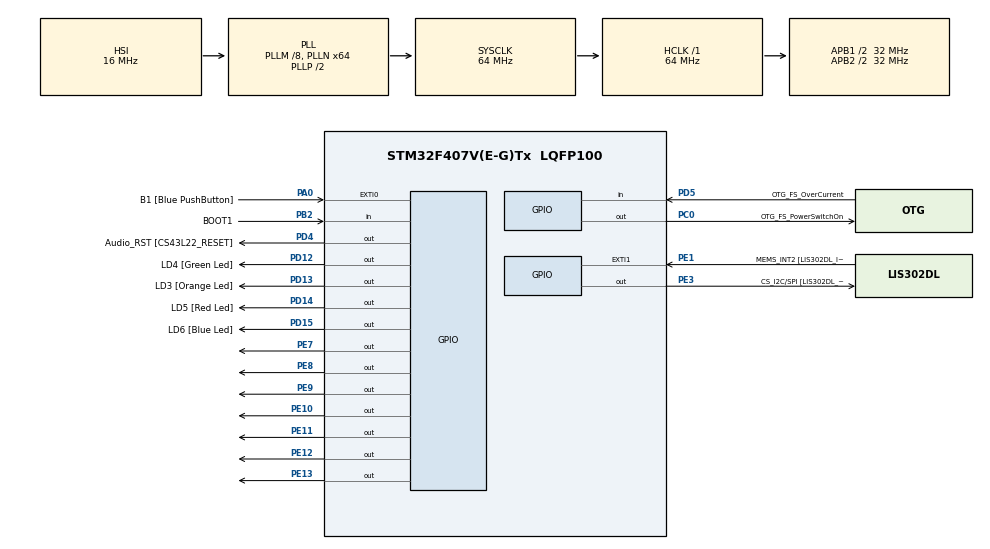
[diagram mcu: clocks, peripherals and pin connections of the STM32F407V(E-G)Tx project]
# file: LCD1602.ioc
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Mcu.Family=STM32F4
Mcu.Name=STM32F407V(E-G)Tx
Mcu.Package=LQFP100
NVIC.PriorityGroup=NVIC_PRIORITYGROUP_0
PA0-WKUP.GPIO_Label=B1 [Blue PushButton]
PA0-WKUP.GPIO_ModeDefaultEXTI=GPIO_MODE_EVT_RISING
PA0-WKUP.GPIO_PuPd=GPIO_NOPULL
PA0-WKUP.Signal=GPXTI0
PA10.GPIO_Label=OTG_FS_ID
PA10.GPIO_Mode=GPIO_MODE_AF_PP
PA10.GPIO_PuPd=GPIO_NOPULL
PA10.GPIO_Speed=GPIO_SPEED_FREQ_LOW
PA10.Signal=USB_OTG_FS_ID
PA11.GPIO_Label=OTG_FS_DM
PA11.GPIO_Mode=GPIO_MODE_AF_PP
PA11.GPIO_PuPd=GPIO_NOPULL
PA11.GPIO_Speed=GPIO_SPEED_FREQ_LOW
PA11.Signal=USB_OTG_FS_DM
PA12.GPIO_Label=OTG_FS_DP
PA12.GPIO_Mode=GPIO_MODE_AF_PP
PA12.GPIO_PuPd=GPIO_NOPULL
PA12.GPIO_Speed=GPIO_SPEED_FREQ_LOW
PA12.Signal=USB_OTG_FS_DP
PA13.GPIO_Label=SWDIO
PA13.Signal=SYS_JTMS-SWDIO
PA14.GPIO_Label=SWCLK
PA14.Signal=SYS_JTCK-SWCLK
PA4.GPIO_Label=I2S3_WS [CS43L22_LRCK]
PA4.GPIO_Mode=GPIO_MODE_AF_PP
PA4.GPIO_PuPd=GPIO_NOPULL
PA4.GPIO_Speed=GPIO_SPEED_FREQ_LOW
PA4.Signal=I2S3_WS
PA5.GPIO_Label=SPI1_SCK [LIS302DL_SCL/SPC]
PA5.GPIO_Mode=GPIO_MODE_AF_PP
PA5.GPIO_PuPd=GPIO_NOPULL
PA5.GPIO_Speed=GPIO_SPEED_FREQ_LOW
PA5.Signal=SPI1_SCK
PA6.GPIO_Label=SPI1_MISO [LIS302DL_SDO]
PA6.GPIO_Mode=GPIO_MODE_AF_PP
PA6.GPIO_PuPd=GPIO_NOPULL
PA6.GPIO_Speed=GPIO_SPEED_FREQ_LOW
PA6.Signal=SPI1_MISO
PA7.GPIO_Label=SPI1_MOSI [LIS302DL_SDA/SDI/SDO]
PA7.GPIO_Mode=GPIO_MODE_AF_PP
PA7.GPIO_PuPd=GPIO_NOPULL
PA7.GPIO_Speed=GPIO_SPEED_FREQ_LOW
PA7.Signal=SPI1_MOSI
PA9.GPIO_Label=VBUS_FS
PA9.GPIO_Mode=GPIO_MODE_INPUT
PA9.GPIO_PuPd=GPIO_NOPULL
PA9.Signal=USB_OTG_FS_VBUS
PB10.GPIO_Label=CLK_IN [MP45DT02_CLK]
PB10.GPIO_Mode=GPIO_MODE_AF_PP
PB10.GPIO_PuPd=GPIO_NOPULL
PB10.GPIO_Speed=GPIO_SPEED_FREQ_LOW
PB10.Signal=I2S2_CK
PB2.GPIO_Label=BOOT1
PB2.GPIO_Mode=GPIO_MODE_INPUT
PB2.GPIO_PuPd=GPIO_NOPULL
PB2.Signal=GPIO_Input
PB3.GPIO_Label=SWO
PB3.Signal=SYS_JTDO-SWO
PB6.GPIO_Label=Audio_SCL [CS43L22_SCL]
PB6.GPIO_Mode=GPIO_MODE_AF_OD
PB6.GPIO_Pu=GPIO_PULLUP
PB6.GPIO_PuPd=GPIO_NOPULL
PB6.GPIO_Speed=GPIO_SPEED_FREQ_LOW
PB6.Signal=I2C1_SCL
PB9.GPIO_Label=Audio_SDA [CS43L22_SDA]
PB9.GPIO_Mode=GPIO_MODE_AF_OD
PB9.GPIO_Pu=GPIO_PULLUP
PB9.GPIO_PuPd=GPIO_NOPULL
PB9.GPIO_Speed=GPIO_SPEED_FREQ_LOW
PB9.Signal=I2C1_SDA
PC0.GPIO_Label=OTG_FS_PowerSwitchOn
PC0.GPIO_PuPd=GPIO_NOPULL
PC0.GPIO_Speed=GPIO_SPEED_FREQ_LOW
PC0.PinState=GPIO_PIN_SET
PC0.Signal=GPIO_Output
PC10.GPIO_Label=I2S3_SCK [CS43L22_SCLK]
PC10.GPIO_Mode=GPIO_MODE_AF_PP
PC10.GPIO_PuPd=GPIO_NOPULL
PC10.GPIO_Speed=GPIO_SPEED_FREQ_LOW
PC10.Signal=I2S3_CK
PC12.GPIO_Label=I2S3_SD [CS43L22_SDIN]
PC12.GPIO_Mode=GPIO_MODE_AF_PP
PC12.GPIO_PuPd=GPIO_NOPULL
PC12.GPIO_Speed=GPIO_SPEED_FREQ_LOW
PC12.Signal=I2S3_SD
PC14-OSC32_IN.GPIO_Label=PC14-OSC32_IN
PC14-OSC32_IN.Signal=RCC_OSC32_IN
PC15-OSC32_OUT.GPIO_Label=PC15-OSC32_OUT
PC15-OSC32_OUT.Signal=RCC_OSC32_OUT
PC3.GPIO_Label=PDM_OUT [MP45DT02_DOUT]
PC3.GPIO_Mode=GPIO_MODE_AF_PP
PC3.GPIO_PuPd=GPIO_NOPULL
PC3.GPIO_Speed=GPIO_SPEED_FREQ_LOW
PC3.Signal=I2S2_SD
PC7.GPIO_Label=I2S3_MCK [CS43L22_MCLK]
PC7.GPIO_Mode=GPIO_MODE_AF_PP
PC7.GPIO_PuPd=GPIO_NOPULL
PC7.GPIO_Speed=GPIO_SPEED_FREQ_LOW
PC7.Signal=I2S3_MCK
PD12.GPIO_Label=LD4 [Green Led]
PD12.GPIO_PuPd=GPIO_NOPULL
PD12.GPIO_Speed=GPIO_SPEED_FREQ_LOW
PD12.Signal=GPIO_Output
PD13.GPIO_Label=LD3 [Orange Led]
PD13.GPIO_PuPd=GPIO_NOPULL
PD13.GPIO_Speed=GPIO_SPEED_FREQ_LOW
PD13.Signal=GPIO_Output
PD14.GPIO_Label=LD5 [Red Led]
PD14.GPIO_PuPd=GPIO_NOPULL
PD14.GPIO_Speed=GPIO_SPEED_FREQ_LOW
PD14.Signal=GPIO_Output
PD15.GPIO_Label=LD6 [Blue Led]
PD15.GPIO_PuPd=GPIO_NOPULL
PD15.GPIO_Speed=GPIO_SPEED_FREQ_LOW
PD15.Signal=GPIO_Output
PD4.GPIO_Label=Audio_RST [CS43L22_RESET]
PD4.GPIO_PuPd=GPIO_NOPULL
PD4.GPIO_Speed=GPIO_SPEED_FREQ_LOW
PD4.Signal=GPIO_Output
PD5.GPIO_Label=OTG_FS_OverCurrent
PD5.GPIO_Mode=GPIO_MODE_INPUT
PD5.GPIO_PuPd=GPIO_NOPULL
PD5.Signal=GPIO_Input
PE1.GPIO_Label=MEMS_INT2 [LIS302DL_INT2]
PE1.GPIO_ModeDefaultEXTI=GPIO_MODE_EVT_RISING
PE1.GPIO_PuPd=GPIO_NOPULL
PE1.Signal=GPXTI1
PE10.Signal=GPIO_Output
PE11.Signal=GPIO_Output
PE12.Signal=GPIO_Output
PE13.Signal=GPIO_Output
PE3.GPIO_Label=CS_I2C/SPI [LIS302DL_CS_I2C/SPI]
PE3.GPIO_PuPd=GPIO_NOPULL
PE3.GPIO_Speed=GPIO_SPEED_FREQ_LOW
PE3.Signal=GPIO_Output
PE7.Signal=GPIO_Output
PE8.Signal=GPIO_Output
PE9.Signal=GPIO_Output
PH0-OSC_IN.GPIO_Label=PH0-OSC_IN
PH0-OSC_IN.Signal=RCC_OSC_IN
PH1-OSC_OUT.GPIO_Label=PH1-OSC_OUT
PH1-OSC_OUT.Signal=RCC_OSC_OUT
ProjectManager.HeapSize=0x200
ProjectManager.StackSize=0x400
ProjectManager.TargetToolchain=STM32CubeIDE
RCC.48MHZClocksFreq_Value=18285714.285714287
RCC.AHBFreq_Value=64000000
RCC.APB1CLKDivider=RCC_HCLK_DIV2
RCC.APB1Freq_Value=32000000
RCC.APB1TimFreq_Value=64000000
RCC.APB2CLKDivider=RCC_HCLK_DIV2
RCC.APB2Freq_Value=32000000
RCC.APB2TimFreq_Value=64000000
RCC.CortexFreq_Value=64000000
RCC.HCLKFreq_Value=64000000
RCC.HSE_VALUE=8000000
RCC.HSI_VALUE=16000000
RCC.LSE_VALUE=32768
RCC.PLLM=8
RCC.PLLN=64
RCC.PLLQ=7
RCC.SYSCLKFreq_VALUE=64000000
RCC.SYSCLKSource=RCC_SYSCLKSOURCE_PLLCLK
RCC.VCOOutputFreq_Value=128000000
TIM1.Period=0xffff-1
TIM1.Prescaler=64-1
VP_TIM1_VS_ClockSourceINT.Mode=Internal
board=STM32F407G-DISC1

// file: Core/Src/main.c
/* USER CODE BEGIN Header */
/**
 ******************************************************************************
 * @file           : main.c
 * @brief          : Main program body
 ******************************************************************************
 * @attention
 *
 * Copyright (c) 2023 STMicroelectronics.
 * All rights reserved.
 *
 * This software is licensed under terms that can be found in the LICENSE file
 * in the root directory of this software component.
 * If no LICENSE file comes with this software, it is provided AS-IS.
 *
 ******************************************************************************
 */
/* USER CODE END Header */
#include "main.h"

/* USER CODE BEGIN Includes */
#include "LCD1602.h"
/* USER CODE END Includes */

TIM_HandleTypeDef htim1;

void SystemClock_Config(void);
static void MX_GPIO_Init(void);
static void MX_TIM1_Init(void);

/* USER CODE BEGIN 0 */
int row = 0;
int col = 0;
/* USER CODE END 0 */

int main(void) {

	/* MCU Configuration--------------------------------------------------------*/

	/* Reset of all peripherals, Initializes the Flash interface and the Systick. */
	HAL_Init();

	/* Configure the system clock */
	SystemClock_Config();

	/* Initialize all configured peripherals */
	MX_GPIO_Init();
	MX_TIM1_Init();
	/* USER CODE BEGIN 2 */

	HAL_TIM_Base_Start(&htim1);
	HAL_Delay(1000);
	lcd_init();
	// lcd_put_cur(1,1);
	lcd_put_cur(0, 0);
	lcd_send_string("HELLO ");
	lcd_send_string("WORLD ");

	lcd_put_cur(1, 0);
	lcd_send_string("AHHHHHH");
	HAL_Delay(3000);
	lcd_clear();

	/* USER CODE END 2 */

	/* Infinite loop */
	/* USER CODE BEGIN WHILE */
	while (1) {

		lcd_put_cur(0, 0);
		lcd_send_string("AHHHHHH");
		HAL_Delay(250);
		lcd_clear();

		 for (int i=0;i<128;i++)
		 {
			 lcd_put_cur(row, col);

			 lcd_send_data(i+48);

			 col++;

			 if (col > 15) {row++; col = 0;}
			 if (row > 1) row=0;

			 HAL_Delay(250);
		 }

		/* USER CODE END WHILE */

	}
}

void SystemClock_Config(void) {
	RCC_OscInitTypeDef RCC_OscInitStruct = { 0 };
	RCC_ClkInitTypeDef RCC_ClkInitStruct = { 0 };

	/** Configure the main internal regulator output voltage
	 */
	__HAL_RCC_PWR_CLK_ENABLE();
	__HAL_PWR_VOLTAGESCALING_CONFIG(PWR_REGULATOR_VOLTAGE_SCALE1);

	/** Initializes the RCC Oscillators according to the specified parameters
	 * in the RCC_OscInitTypeDef structure.
	 */
	RCC_OscInitStruct.OscillatorType = RCC_OSCILLATORTYPE_HSI;
	RCC_OscInitStruct.HSIState = RCC_HSI_ON;
	RCC_OscInitStruct.HSICalibrationValue = RCC_HSICALIBRATION_DEFAULT;
	RCC_OscInitStruct.PLL.PLLState = RCC_PLL_ON;
	RCC_OscInitStruct.PLL.PLLSource = RCC_PLLSOURCE_HSI;
	RCC_OscInitStruct.PLL.PLLM = 8;
	RCC_OscInitStruct.PLL.PLLN = 64;
	RCC_OscInitStruct.PLL.PLLP = RCC_PLLP_DIV2;
	RCC_OscInitStruct.PLL.PLLQ = 7;
	if (HAL_RCC_OscConfig(&RCC_OscInitStruct) != HAL_OK) {
		Error_Handler();
	}

	/** Initializes the CPU, AHB and APB buses clocks
	 */
	RCC_ClkInitStruct.ClockType = RCC_CLOCKTYPE_HCLK | RCC_CLOCKTYPE_SYSCLK
			| RCC_CLOCKTYPE_PCLK1 | RCC_CLOCKTYPE_PCLK2;
	RCC_ClkInitStruct.SYSCLKSource = RCC_SYSCLKSOURCE_PLLCLK;
	RCC_ClkInitStruct.AHBCLKDivider = RCC_SYSCLK_DIV1;
	RCC_ClkInitStruct.APB1CLKDivider = RCC_HCLK_DIV2;
	RCC_ClkInitStruct.APB2CLKDivider = RCC_HCLK_DIV2;

	if (HAL_RCC_ClockConfig(&RCC_ClkInitStruct, FLASH_LATENCY_2) != HAL_OK) {
		Error_Handler();
	}
}

static void MX_TIM1_Init(void) {

	TIM_ClockConfigTypeDef sClockSourceConfig = { 0 };
	TIM_MasterConfigTypeDef sMasterConfig = { 0 };

	htim1.Instance = TIM1;
	htim1.Init.Prescaler = 64 - 1;
	htim1.Init.CounterMode = TIM_COUNTERMODE_UP;
	htim1.Init.Period = 0xffff - 1;
	htim1.Init.ClockDivision = TIM_CLOCKDIVISION_DIV1;
	htim1.Init.RepetitionCounter = 0;
	htim1.Init.AutoReloadPreload = TIM_AUTORELOAD_PRELOAD_DISABLE;
	if (HAL_TIM_Base_Init(&htim1) != HAL_OK) {
		Error_Handler();
	}
	sClockSourceConfig.ClockSource = TIM_CLOCKSOURCE_INTERNAL;
	if (HAL_TIM_ConfigClockSource(&htim1, &sClockSourceConfig) != HAL_OK) {
		Error_Handler();
	}
	sMasterConfig.MasterOutputTrigger = TIM_TRGO_RESET;
	sMasterConfig.MasterSlaveMode = TIM_MASTERSLAVEMODE_DISABLE;
	if (HAL_TIMEx_MasterConfigSynchronization(&htim1, &sMasterConfig)
			!= HAL_OK) {
		Error_Handler();
	}

}

static void MX_GPIO_Init(void) {
	GPIO_InitTypeDef GPIO_InitStruct = { 0 };

	/* GPIO Ports Clock Enable */
	__HAL_RCC_GPIOE_CLK_ENABLE();
	__HAL_RCC_GPIOC_CLK_ENABLE();
	__HAL_RCC_GPIOH_CLK_ENABLE();
	__HAL_RCC_GPIOA_CLK_ENABLE();
	__HAL_RCC_GPIOB_CLK_ENABLE();
	__HAL_RCC_GPIOD_CLK_ENABLE();

	/*Configure GPIO pin Output Level */
	HAL_GPIO_WritePin(GPIOE,
			CS_I2C_SPI_Pin | GPIO_PIN_7 | GPIO_PIN_8 | GPIO_PIN_9 | GPIO_PIN_10
					| GPIO_PIN_11 | GPIO_PIN_12 | GPIO_PIN_13, GPIO_PIN_RESET);

	/*Configure GPIO pin Output Level */
	HAL_GPIO_WritePin(OTG_FS_PowerSwitchOn_GPIO_Port, OTG_FS_PowerSwitchOn_Pin,
			GPIO_PIN_SET);

	/*Configure GPIO pin Output Level */
	HAL_GPIO_WritePin(GPIOD,
			LD4_Pin | LD3_Pin | LD5_Pin | LD6_Pin | Audio_RST_Pin,
			GPIO_PIN_RESET);

	/*Configure GPIO pins : CS_I2C_SPI_Pin PE7 PE8 PE9
	 PE10 PE11 PE12 PE13 */
	GPIO_InitStruct.Pin = CS_I2C_SPI_Pin | GPIO_PIN_7 | GPIO_PIN_8 | GPIO_PIN_9
			| GPIO_PIN_10 | GPIO_PIN_11 | GPIO_PIN_12 | GPIO_PIN_13;
	GPIO_InitStruct.Mode = GPIO_MODE_OUTPUT_PP;
	GPIO_InitStruct.Pull = GPIO_NOPULL;
	GPIO_InitStruct.Speed = GPIO_SPEED_FREQ_LOW;
	HAL_GPIO_Init(GPIOE, &GPIO_InitStruct);

	/*Configure GPIO pin : OTG_FS_PowerSwitchOn_Pin */
	GPIO_InitStruct.Pin = OTG_FS_PowerSwitchOn_Pin;
	GPIO_InitStruct.Mode = GPIO_MODE_OUTPUT_PP;
	GPIO_InitStruct.Pull = GPIO_NOPULL;
	GPIO_InitStruct.Speed = GPIO_SPEED_FREQ_LOW;
	HAL_GPIO_Init(OTG_FS_PowerSwitchOn_GPIO_Port, &GPIO_InitStruct);

	/*Configure GPIO pin : PDM_OUT_Pin */
	GPIO_InitStruct.Pin = PDM_OUT_Pin;
	GPIO_InitStruct.Mode = GPIO_MODE_AF_PP;
	GPIO_InitStruct.Pull = GPIO_NOPULL;
	GPIO_InitStruct.Speed = GPIO_SPEED_FREQ_LOW;
	GPIO_InitStruct.Alternate = GPIO_AF5_SPI2;
	HAL_GPIO_Init(PDM_OUT_GPIO_Port, &GPIO_InitStruct);

	/*Configure GPIO pin : B1_Pin */
	GPIO_InitStruct.Pin = B1_Pin;
	GPIO_InitStruct.Mode = GPIO_MODE_EVT_RISING;
	GPIO_InitStruct.Pull = GPIO_NOPULL;
	HAL_GPIO_Init(B1_GPIO_Port, &GPIO_InitStruct);

	/*Configure GPIO pin : I2S3_WS_Pin */
	GPIO_InitStruct.Pin = I2S3_WS_Pin;
	GPIO_InitStruct.Mode = GPIO_MODE_AF_PP;
	GPIO_InitStruct.Pull = GPIO_NOPULL;
	GPIO_InitStruct.Speed = GPIO_SPEED_FREQ_LOW;
	GPIO_InitStruct.Alternate = GPIO_AF6_SPI3;
	HAL_GPIO_Init(I2S3_WS_GPIO_Port, &GPIO_InitStruct);

	/*Configure GPIO pins : SPI1_SCK_Pin SPI1_MISO_Pin SPI1_MOSI_Pin */
	GPIO_InitStruct.Pin = SPI1_SCK_Pin | SPI1_MISO_Pin | SPI1_MOSI_Pin;
	GPIO_InitStruct.Mode = GPIO_MODE_AF_PP;
	GPIO_InitStruct.Pull = GPIO_NOPULL;
	GPIO_InitStruct.Speed = GPIO_SPEED_FREQ_LOW;
	GPIO_InitStruct.Alternate = GPIO_AF5_SPI1;
	HAL_GPIO_Init(GPIOA, &GPIO_InitStruct);

	/*Configure GPIO pin : BOOT1_Pin */
	GPIO_InitStruct.Pin = BOOT1_Pin;
	GPIO_InitStruct.Mode = GPIO_MODE_INPUT;
	GPIO_InitStruct.Pull = GPIO_NOPULL;
	HAL_GPIO_Init(BOOT1_GPIO_Port, &GPIO_InitStruct);

	/*Configure GPIO pin : CLK_IN_Pin */
	GPIO_InitStruct.Pin = CLK_IN_Pin;
	GPIO_InitStruct.Mode = GPIO_MODE_AF_PP;
	GPIO_InitStruct.Pull = GPIO_NOPULL;
	GPIO_InitStruct.Speed = GPIO_SPEED_FREQ_LOW;
	GPIO_InitStruct.Alternate = GPIO_AF5_SPI2;
	HAL_GPIO_Init(CLK_IN_GPIO_Port, &GPIO_InitStruct);

	/*Configure GPIO pins : LD4_Pin LD3_Pin LD5_Pin LD6_Pin
	 Audio_RST_Pin */
	GPIO_InitStruct.Pin = LD4_Pin | LD3_Pin | LD5_Pin | LD6_Pin | Audio_RST_Pin;
	GPIO_InitStruct.Mode = GPIO_MODE_OUTPUT_PP;
	GPIO_InitStruct.Pull = GPIO_NOPULL;
	GPIO_InitStruct.Speed = GPIO_SPEED_FREQ_LOW;
	HAL_GPIO_Init(GPIOD, &GPIO_InitStruct);

	/*Configure GPIO pins : I2S3_MCK_Pin I2S3_SCK_Pin I2S3_SD_Pin */
	GPIO_InitStruct.Pin = I2S3_MCK_Pin | I2S3_SCK_Pin | I2S3_SD_Pin;
	GPIO_InitStruct.Mode = GPIO_MODE_AF_PP;
	GPIO_InitStruct.Pull = GPIO_NOPULL;
	GPIO_InitStruct.Speed = GPIO_SPEED_FREQ_LOW;
	GPIO_InitStruct.Alternate = GPIO_AF6_SPI3;
	HAL_GPIO_Init(GPIOC, &GPIO_InitStruct);

	/*Configure GPIO pin : VBUS_FS_Pin */
	GPIO_InitStruct.Pin = VBUS_FS_Pin;
	GPIO_InitStruct.Mode = GPIO_MODE_INPUT;
	GPIO_InitStruct.Pull = GPIO_NOPULL;
	HAL_GPIO_Init(VBUS_FS_GPIO_Port, &GPIO_InitStruct);

	/*Configure GPIO pins : OTG_FS_ID_Pin OTG_FS_DM_Pin OTG_FS_DP_Pin */
	GPIO_InitStruct.Pin = OTG_FS_ID_Pin | OTG_FS_DM_Pin | OTG_FS_DP_Pin;
	GPIO_InitStruct.Mode = GPIO_MODE_AF_PP;
	GPIO_InitStruct.Pull = GPIO_NOPULL;
	GPIO_InitStruct.Speed = GPIO_SPEED_FREQ_LOW;
	GPIO_InitStruct.Alternate = GPIO_AF10_OTG_FS;
	HAL_GPIO_Init(GPIOA, &GPIO_InitStruct);

	/*Configure GPIO pin : OTG_FS_OverCurrent_Pin */
	GPIO_InitStruct.Pin = OTG_FS_OverCurrent_Pin;
	GPIO_InitStruct.Mode = GPIO_MODE_INPUT;
	GPIO_InitStruct.Pull = GPIO_NOPULL;
	HAL_GPIO_Init(OTG_FS_OverCurrent_GPIO_Port, &GPIO_InitStruct);

	/*Configure GPIO pins : Audio_SCL_Pin Audio_SDA_Pin */
	GPIO_InitStruct.Pin = Audio_SCL_Pin | Audio_SDA_Pin;
	GPIO_InitStruct.Mode = GPIO_MODE_AF_OD;
	GPIO_InitStruct.Pull = GPIO_PULLUP;
	GPIO_InitStruct.Speed = GPIO_SPEED_FREQ_LOW;
	GPIO_InitStruct.Alternate = GPIO_AF4_I2C1;
	HAL_GPIO_Init(GPIOB, &GPIO_InitStruct);

	/*Configure GPIO pin : MEMS_INT2_Pin */
	GPIO_InitStruct.Pin = MEMS_INT2_Pin;
	GPIO_InitStruct.Mode = GPIO_MODE_EVT_RISING;
	GPIO_InitStruct.Pull = GPIO_NOPULL;
	HAL_GPIO_Init(MEMS_INT2_GPIO_Port, &GPIO_InitStruct);

}

void Error_Handler(void) {
	__disable_irq();
	while (1) {
	}
}
